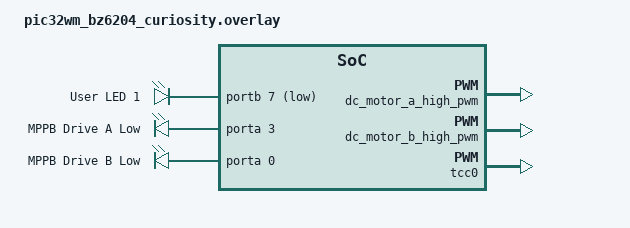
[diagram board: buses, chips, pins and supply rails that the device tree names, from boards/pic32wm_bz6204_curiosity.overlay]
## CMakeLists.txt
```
#
# Copyright (c) 2025 Microchip Technology Inc.
#
# SPDX-License-Identifier: Apache-2.0

cmake_minimum_required(VERSION 3.20.0)
list(APPEND BOARD_ROOT ${CMAKE_CURRENT_SOURCE_DIR})
find_package(Zephyr REQUIRED HINTS $ENV{ZEPHYR_BASE})
project(ble_dc_motor_mppb)

FILE(GLOB app_sources CONFIGURE_DEPENDS src/*.c)
target_sources(app PRIVATE
  ${app_sources}
  )

zephyr_library_include_directories(.)
```

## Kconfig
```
# Copyright (c) 2025 Microchip Technology Inc.
# SPDX-License-Identifier: Apache-2.0

mainmenu "Bluetooth: BLE DC Motor MPPB"

config TRS_SERVER_CREDIT
    int "Trs server credits"
    range 6 16
    default 16
    help
      credit value for Transparent Server

config TRS_SERVER_BUF_POOL_SIZE
    int "Trs server buffer pool size"
    range 1 16
    default 4
    help
      set this value based on the credits,maximum connections, 
      max size of the data that will be send over trs server 
      and frequency of data flow

config TRS_SERVER_BUF_DATA_SIZE
    int "Trs server data size for one pool"
    range 20 244
    default 128
    help
      set this value based on the max size of the data 
      that will be send over trs server

config TRS_SERVER_OPCODE_CBFC_ENABLED
    hex "Trs server opcode for CBFC enabled"
    default 0x14
    help
      opcode for CBFC enabled

config TRS_SERVER_OPCODE_CBFC_GIVE_CREDIT
    hex "Trs server opcode for giving credit"
    default 0x15
    help
      opcode for giving credit

config TRS_SERVER_VENDOR_OPCODE_MIN
    hex "Trs server vendor opcode min"
    range 0x20 0xFF
    default 0x20
    help
      minimum value for vendor specific opcodes

# DC motor application fixed protocol flags.
config APP_DC_MOTOR_VERBOSE_QEI_LOG
  bool "Print full QEI diagnostics"
  default n
  help
    Include encoder position, sample timing, raw velocity counts and pin states
    in the periodic motor log. Otherwise print only RPM, duty and count rate.

config APP_DC_MOTOR_OPEN_LOOP
  bool
  default n

config APP_DC_MOTOR_MPPB
  bool
  default y

source "Kconfig.zephyr"
```

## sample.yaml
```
sample:
  name: BLE Brushed DC Motor with MPPB
  description: Control a brushed DC motor from PIC32WM BZ6204 Curiosity or BZ6 Motor Control Board through the Microchip Multi-Phase Power Board.
  tags: bluetooth pwm gpio motor
tests:
  build:
    platform_allow:
      - pic32wm_bz6204_curiosity/pic32cx2051bz62132
      - bz6_motor_control_board/pic32cx2051bz62132
    tags: bluetooth pwm gpio motor
```

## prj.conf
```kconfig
#
# Copyright (c) 2025 Microchip Technology Inc.
#
# SPDX-License-Identifier: Apache-2.0
#
CONFIG_BT=y
CONFIG_LOG=y
CONFIG_BT_SMP=y
CONFIG_BT_PERIPHERAL=y
CONFIG_BT_DEVICE_NAME="Microchip"

CONFIG_GPIO=y
CONFIG_PWM=y
CONFIG_NET_BUF=y

CONFIG_BT_MAX_CONN=1

CONFIG_BT_RX_STACK_SIZE=2048
CONFIG_SYSTEM_WORKQUEUE_STACK_SIZE=2048

CONFIG_BT_L2CAP_TX_MTU=247
CONFIG_BT_BUF_ACL_RX_SIZE=255
CONFIG_BT_BUF_ACL_TX_SIZE=251
CONFIG_BT_BUF_CMD_TX_SIZE=255
CONFIG_BT_L2CAP_TX_BUF_COUNT=10
CONFIG_BT_CONN_TX_MAX=10
CONFIG_BT_ATT_TX_COUNT=10

CONFIG_TRS_SERVER_CREDIT=16
CONFIG_TRS_SERVER_BUF_POOL_SIZE=16
CONFIG_TRS_SERVER_BUF_DATA_SIZE=244
```

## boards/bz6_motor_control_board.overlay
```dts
/*
 * MPPB brushed DC motor control for bz6_motor_control_board.
 *
 * This overlay file configures the motor control hardware interfaces
 * for the BZ6 Motor Control Board. The board uses MPPB (Multi-Phase Power Board)
 * Drive A/B configured as one H-bridge.
 *
 * Hardware Mapping:
 *   A High: PA7 / TCC0 WO0 -> MPPB pin 26
 *   A Low:  PA3 / GPIO    -> MPPB pin 25
 *   B High: PA1 / TCC0 WO1 -> MPPB pin 24
 *   B Low:  PA0 / GPIO    -> MPPB pin 23
 *
 * Encoder A/B: PC9 / pin 32 (Hall C), PC8 / pin 34 (Hall B).
 * QEI routes PC8 to QEA and PC9 to QEB in plib_qei.c, without decoder swapping.
 * Low sides use GPIO rather than the connector's alternate TCC functions.
 * Drives C/D, PWM IN, monitor inputs and MPPB LED are not used here.
 */

/ {
	/* GPIO-based DC motor control outputs for low-side drives */
	mppb_outputs {
		compatible = "gpio-leds";
		status = "okay";

		dc_motor_a_low: dc_motor_a_low {
			gpios = <&porta 3 GPIO_ACTIVE_HIGH>;
			label = "MPPB Drive A Low";
		};

		dc_motor_b_low: dc_motor_b_low {
			gpios = <&porta 0 GPIO_ACTIVE_HIGH>;
			label = "MPPB Drive B Low";
		};
	};

	/* PWM-based DC motor control outputs for high-side drives */
	mppb_pwm_outputs {
		compatible = "pwm-leds";
		status = "okay";

		dc_motor_a_high_pwm: dc_motor_a_high_pwm {
			status = "okay";
			pwms = <&tcc0 0 PWM_USEC(1000) 0>;
		};

		dc_motor_b_high_pwm: dc_motor_b_high_pwm {
			status = "okay";
			pwms = <&tcc0 1 PWM_USEC(1000) 0>;
		};
	};

	aliases {
		led3 = &led0;
		dc-motor-a-high-pwm = &dc_motor_a_high_pwm;
		dc-motor-b-high-pwm = &dc_motor_b_high_pwm;
		dc-motor-a-low = &dc_motor_a_low;
		dc-motor-b-low = &dc_motor_b_low;
	};
};

/* Pin controller configuration for TCC0 PWM outputs */
&pinctrl {
	tcc0_pwm_mppb: tcc0_pwm_mppb {
		group1 {
			pinmux = <PA7_TCC0WO0_OUT>,
				<PA1_TCC0WO1_OUT>;
		};
	};
};

/* Timer/Counter Controller 0 configuration for PWM */
&tcc0 {
	status = "okay";
	pinctrl-0 = <&tcc0_pwm_mppb>;
	pinctrl-names = "default";
	prescaler = <1>;
};

/* SERCOM5 shares PA0/PA1 with the motor outputs. */
&sercom5 {
	status = "disabled";
};
```

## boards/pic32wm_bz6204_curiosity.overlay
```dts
/*
 * MPPB brushed DC motor control for pic32wm_bz6204_curiosity.
 *
 * MPPB Drive A/B are used as one H-bridge:
 *   A High: RPA7 / TCC0 WO0 -> MPPB pin 26
 *   A Low:  RPA3             -> MPPB pin 25
 *   B High: RPA1 / TCC0 WO1 -> MPPB pin 24
 *   B Low:  RPA0             -> MPPB pin 23
 */

/ {
	leds {
		compatible = "gpio-leds";
		led3: led_3 {
			gpios = <&portb 7 GPIO_ACTIVE_LOW>;
			label = "User LED 1";
		};
	};

	mppb_outputs {
		compatible = "gpio-leds";
		status = "okay";

		dc_motor_a_low: dc_motor_a_low {
			gpios = <&porta 3 GPIO_ACTIVE_HIGH>;
			label = "MPPB Drive A Low";
		};

		dc_motor_b_low: dc_motor_b_low {
			gpios = <&porta 0 GPIO_ACTIVE_HIGH>;
			label = "MPPB Drive B Low";
		};
	};

	mppb_pwm_outputs {
		compatible = "pwm-leds";
		status = "okay";

		dc_motor_a_high_pwm: dc_motor_a_high_pwm {
			status = "okay";
			pwms = <&tcc0 0 PWM_NSEC(50000) 0>;
		};

		dc_motor_b_high_pwm: dc_motor_b_high_pwm {
			status = "okay";
			pwms = <&tcc0 1 PWM_NSEC(50000) 0>;
		};
	};

	aliases {
		led3 = &led3;
		dc-motor-a-high-pwm = &dc_motor_a_high_pwm;
		dc-motor-b-high-pwm = &dc_motor_b_high_pwm;
		dc-motor-a-low = &dc_motor_a_low;
		dc-motor-b-low = &dc_motor_b_low;
	};
};

&pinctrl {
	tcc0_pwm_mppb: tcc0_pwm_mppb {
		group1 {
			pinmux = <PA7_TCC0WO0_OUT>,
				<PA1_TCC0WO1_OUT>;
		};
	};
};

&tcc0 {
	status = "okay";
	pinctrl-0 = <&tcc0_pwm_mppb>;
	pinctrl-names = "default";
	prescaler = <1>;
};

&sercom5 {
	status = "disabled";
};

/* Enable timer/counter modules for PWM */
```

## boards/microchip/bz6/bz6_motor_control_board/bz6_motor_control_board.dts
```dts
/*
 * Copyright (c) 2025 Microchip Technology Inc.
 *
 * SPDX-License-Identifier: Apache-2.0
 */

/dts-v1/;
#include <microchip/pic32c/pic32cx_bz/bz6x/bz62/pic32cx2051bz62132.dtsi>
#include "bz6_motor_control_board-pinctrl.dtsi"
#include <zephyr/dt-bindings/input/input-event-codes.h>
#include <zephyr/dt-bindings/i2c/i2c.h>

/ {
	model = "Microchip BZ6 Motor Control Board";
	compatible = "microchip,bz6-motor-control-board";

	chosen {
		zephyr,console = &sercom0;
		zephyr,shell-uart = &sercom0;
		zephyr,sram = &sram0;
		zephyr,flash = &flash0;
		zephyr,code-partition = &code_partition;
		zephyr,bt-hci = &bt_hci_microchip;
		zephyr,bt-c2h-uart = &sercom0;
		zephyr,ieee802154 = &ieee802154;
		zephyr,cortex-m-idle-timer = &rtc;
		zephyr,entropy = &trng;
		zephyr,crypto = &crypto;
	};

	leds {
		compatible = "gpio-leds";
		led0: led_0 {
			/* D801 blue LED: PE0 low = ON, PE0 high = OFF */
			gpios = <&porte 0 GPIO_ACTIVE_LOW>;
			label = "User LED";
		};
	};

	buttons {
		compatible = "gpio-keys";
		button0: button_0 {
			gpios = <&porte 3 (GPIO_PULL_UP | GPIO_ACTIVE_LOW)>;
			label = "BTN0";
			zephyr,code = <INPUT_KEY_0>;
		};
	};

	aliases {
		led0 = &led0;
		sw0 = &button0;
		rtc = &rtc;
		watchdog0 = &wdog;
	};
};

&cpu0 {
	clock-frequency = <128000000>;
};

&sosc {
	sosc-en = <0>;
};

&vbkpclk {
	vbkpclk-32kc-src-sel = "lprc";
};

&lpclk {
	lpclk-div-modifier = "div_by_1.024";
};

&rtcclk {
	rtcclk-vbkp-div-sel = "div_by_32";
};

&sercom0 {
	status = "okay";
	compatible = "microchip,sercom-g1-uart";
	rxpo = <1>;
	txpo = <0>;
	current-speed = <115200>;
	pinctrl-0 = <&sercom0_uart_default>;
	pinctrl-names = "default";

	dmas = <&dmac 0 4>, <&dmac 1 5>;
	dma-names = "rx", "tx";
};

&sercom1 {
	status = "okay";
	compatible = "microchip,sercom-g1-i2c";
	clock-frequency = <I2C_BITRATE_STANDARD>;
	#address-cells = <1>;
	#size-cells = <0>;
	pinctrl-0 = <&sercom1_i2c_default>;
	pinctrl-names = "default";

	dmas = <&dmac 2 6>, <&dmac 3 7>;
	dma-names = "rx", "tx";
};

&sercom4 {
	status = "okay";
	compatible = "microchip,sercom-g1-spi";
	dipo = <0>;
	dopo = <2>;
	#address-cells = <1>;
	#size-cells = <0>;

	pinctrl-0 = <&sercom4_spi_master_socket1>;
	pinctrl-names = "default";

	dmas = <&dmac 4 12>, <&dmac 5 13>;
	dma-names = "rx", "tx";
};

&sercom5 {
	status = "okay";
	compatible = "microchip,sercom-g1-uart";
	rxpo = <3>;
	txpo = <0>;
	current-speed = <115200>;
	pinctrl-0 = <&sercom5_uart_default>;
	pinctrl-names = "default";

	dmas = <&dmac 6 14>, <&dmac 7 15>;
	dma-names = "rx", "tx";
};

&bt_hci_microchip {
	status = "okay";
};

&ieee802154 {
	status = "okay";
};

&trng {
	status = "okay";
};

&crypto {
	status = "okay";
};

&flash0 {
	partitions {
		compatible = "fixed-partitions";
		#address-cells = <1>;
		#size-cells = <1>;

		code_partition: partition@0 {
			label = "code";
			reg = <0x0 DT_SIZE_K(2048-16)>;
			read-only;
		};

		storage_partition: partition@1FC000 {
			label = "storage";
			reg = <0x1FC000 0x00004000>;
		};
	};
};

&porta {
	status = "okay";
};

&portb {
	status = "okay";
};

&rtc {
	compatible = "microchip,rtc-g1-counter";
	status = "okay";
	max-bit-width = <32>;
	prescaler = <1>;
};

&tcc0 {
	status = "disabled";
	compatible = "microchip,tcc-g1-pwm";
	#pwm-cells = <3>;
	pinctrl-0 = <&tcc0_pwm_default>;
	pinctrl-names = "default";
	max-bit-width = <24>;
	prescaler = <1>;
	channels = <6>;
};

&tcc1 {
	status = "disabled";
	compatible = "microchip,tcc-g1-pwm";
	#pwm-cells = <3>;
	pinctrl-0 = <&tcc1_pwm_default>;
	pinctrl-names = "default";
	max-bit-width = <24>;
	prescaler = <1>;
	channels = <6>;
};

&tcc2 {
	status = "disabled";
	compatible = "microchip,tcc-g1-pwm";
	#pwm-cells = <3>;
	pinctrl-0 = <&tcc2_pwm_default>;
	pinctrl-names = "default";
	max-bit-width = <24>;
	prescaler = <1>;
	channels = <6>;
};

&tc0 {
	status = "disabled";
	compatible = "microchip,tc-g1";
	#pwm-cells = <3>;
	pinctrl-0 = <&tc0_pwm_default>;
	pinctrl-names = "default";
	max-bit-width = <32>;
	prescaler = <1>;
};

&tc1 {
	status = "disabled";
	compatible = "microchip,tc-g1";
	#pwm-cells = <3>;
	pinctrl-0 = <&tc1_pwm_default>;
	pinctrl-names = "default";
	max-bit-width = <32>;
	prescaler = <1>;
};
```

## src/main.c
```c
/*
 * Copyright (c) 2025 Microchip Technology Inc.
 *
 * SPDX-License-Identifier: Apache-2.0
 */
#include <zephyr/types.h>
#include <stddef.h>
#include <string.h>
#include <errno.h>
#include <zephyr/kernel.h>
#include <zephyr/logging/log.h>
#include <zephyr/bluetooth/bluetooth.h>
#include <zephyr/bluetooth/hci.h>
#include <zephyr/bluetooth/conn.h>
#include <zephyr/bluetooth/uuid.h>
#include <zephyr/bluetooth/gatt.h>
#include <zephyr/drivers/uart.h>
#include <zephyr/drivers/gpio.h>
#include "trs_server.h"
#include "trs.h"
#include "app_dc_motor.h"

LOG_MODULE_REGISTER(main);

#define UART_TX_BUF_SIZE 244
#define RING_BUF_SIZE    512
#define LED_BLINK_INTERVAL_MS 500
#define LED_RX_PULSE_MS 250
#define USER_LED_NODE DT_ALIAS(led3)

/* MBD legacy advertisement name and service data */
#define ADV_NAME "Zephyr_DC_Motor"
#define ADV_NAME_LEN (sizeof(ADV_NAME) - 1)

#define UART_DEVICE_NODE DT_CHOSEN(zephyr_shell_uart)

/* incoming events and data from the bluetooth */
static K_FIFO_DEFINE(rx_queue);

#define APP_BUF_POOL_SIZE CONFIG_TRS_SERVER_BUF_POOL_SIZE
#define APP_BUF_DATA_SIZE CONFIG_TRS_SERVER_BUF_DATA_SIZE

NET_BUF_POOL_DEFINE(app_buff_pool, APP_BUF_POOL_SIZE, APP_BUF_DATA_SIZE, 0, NULL);
RING_BUF_DECLARE(rx_ring, RING_BUF_SIZE);

static const struct device *const uart_dev = DEVICE_DT_GET(UART_DEVICE_NODE);
static const struct gpio_dt_spec user_led = GPIO_DT_SPEC_GET(USER_LED_NODE, gpios);

static struct bt_conn *ble_conn;
static struct k_spinlock motor_status_conn_lock;
static atomic_t motor_status_reset;
static struct k_work_delayable motor_status_work;
static struct k_work uart_rx_work;
static struct k_work ble_rx_work;
static struct k_work_delayable adv_retry_work;
static struct k_work_delayable led_blink_work;
static struct k_work_delayable led_rx_pulse_work;
static bool advertising_started;
static bool led_state;  /* true = ON, false = OFF */

static struct k_work vendor_work;
static uint8_t vendor_buf[32];
static int vendor_len_global;

/*
 * ── UART accumulation buffer ──
 * Collects bytes from ISR until a delimiter (CR/LF) is seen,
 * then hands off the complete line via a work item.
 */
#define ACCUM_BUF_SIZE 128
static uint8_t accum_buf[ACCUM_BUF_SIZE];
static size_t  accum_pos;
static struct k_work process_line_work;

/* Double-buffer: ISR fills accum_buf, work handler processes line_buf */
static uint8_t line_buf[ACCUM_BUF_SIZE];
static size_t  line_len;

static uint8_t svc_data[] = {
    0xDA, 0xFE,
    (DC_MOTOR_SERVICE_DATA >> 8) & 0xFF,
    DC_MOTOR_SERVICE_DATA & 0xFF
};

static struct bt_data ad[] = {
    BT_DATA_BYTES(BT_DATA_FLAGS, (BT_LE_AD_GENERAL | BT_LE_AD_NO_BREDR)),
    BT_DATA(BT_DATA_SVC_DATA16, svc_data, sizeof(svc_data)),
    BT_DATA(BT_DATA_NAME_COMPLETE, ADV_NAME, ADV_NAME_LEN),
};

/* ──────────────────────────────────────────────
 * Advertising
 * ────────────────────────────────────────────── */
static int start_advertising(void)
{
    int err;

    bt_le_adv_stop();
    err = bt_le_adv_start(BT_LE_ADV_CONN_FAST_1, ad, ARRAY_SIZE(ad), NULL, 0);
    if (err) {
        LOG_ERR("Advertising failed to start (err %d)", err);
        return err;
    }
    LOG_INF("Configuration mode: waiting connections...");
    
    /* Start LED blinking for advertising state */
    led_state = false;
    gpio_pin_set_dt(&user_led, 1);  /* 1 for GPIO_ACTIVE_LOW = LED OFF */
    k_work_schedule(&led_blink_work, K_MSEC(LED_BLINK_INTERVAL_MS));
    
    return 0;
}

static void adv_retry_work_handler(struct k_work *work)
{
    int err = start_advertising();

    if (err == -ENOMEM) {
        k_work_schedule(&adv_retry_work, K_MSEC(200));
    }
}

/* ──────────────────────────────────────────────
 * LED Blink handler (for advertising state)
 * ────────────────────────────────────────────── */
static void led_blink_work_handler(struct k_work *work)
{
    /* Only blink if still in advertising mode (not connected) */
    if (!ble_conn && advertising_started) {
        led_state = !led_state;
        gpio_pin_set_dt(&user_led, led_state ? 0 : 1);  /* Invert for GPIO_ACTIVE_LOW */
        k_work_schedule(&led_blink_work, K_MSEC(LED_BLINK_INTERVAL_MS));
    }
}

static void led_rx_pulse_work_handler(struct k_work *work)
{
    if (ble_conn) {
        led_state = true;
        gpio_pin_set_dt(&user_led, 1);
    }
}

static void user_led_rx_activity(void)
{
    if (ble_conn) {
        led_state = false;
        gpio_pin_set_dt(&user_led, 0);
        k_work_reschedule(&led_rx_pulse_work, K_MSEC(LED_RX_PULSE_MS));
    }
}

/* ──────────────────────────────────────────────
 * Connection callbacks
 * ────────────────────────────────────────────── */
static void motor_status_work_handler(struct k_work *work)
{
    static char status[64];
    static uint16_t length;
    static uint16_t offset;
    static uint8_t retries;
    uint16_t mtu;
    int ret = 0;
    k_spinlock_key_t key = k_spin_lock(&motor_status_conn_lock);
    struct bt_conn *conn = ble_conn ? bt_conn_ref(ble_conn) : NULL;
    k_spin_unlock(&motor_status_conn_lock, key);

    if (!conn) {
        length = 0U;
        offset = 0U;
        return;
    }
    if (atomic_set(&motor_status_reset, 0) != 0) {
        length = 0U;
        offset = 0U;
        retries = 0U;
    }
    if (!bt_trs_tx_ccc_config_status(conn)) {
        goto next_report;
    }
    if (length == 0U) {
        ret = app_dc_motor_format_status(status, sizeof(status));
        if (ret < 0) {
            goto next_report;
        }
        length = (uint16_t)ret;
    }
    trs_server_get_tx_mtu(conn, &mtu);
    if (mtu <= 4U) {
        goto next_report;
    }
    uint16_t chunk = MIN(length - offset, MIN(mtu - 4U, 244U));
    ret = trs_server_send_data(conn, chunk, (uint8_t *)&status[offset]);
    if (ret == 0) {
        offset += chunk;
    }
    if ((ret == 0 && offset < length) ||
        ((ret == -ENOBUFS || ret == -ENOMEM || ret == -EAGAIN) && retries++ < 20U)) {
        bt_conn_unref(conn);
        k_work_reschedule(&motor_status_work, K_MSEC(50));
        return;
    }

next_report:
    length = 0U;
    offset = 0U;
    retries = 0U;
    bt_conn_unref(conn);
    k_work_reschedule(&motor_status_work, K_SECONDS(5));
}

static void connected(struct bt_conn *connected, uint8_t err)
{
    if (err) {
        LOG_ERR("Connection failed (err %u)", err);
    } else {
        LOG_INF("Connected");
        k_spinlock_key_t key = k_spin_lock(&motor_status_conn_lock);
        if (!ble_conn) {
            ble_conn = bt_conn_ref(connected);
        }
        k_spin_unlock(&motor_status_conn_lock, key);
        atomic_set(&motor_status_reset, 1);
        k_work_reschedule(&motor_status_work, K_SECONDS(5));
        /* Cancel blinking and turn LED ON */
        k_work_cancel_delayable(&led_blink_work);
        k_work_cancel_delayable(&led_rx_pulse_work);
        led_state = true;
        gpio_pin_set_dt(&user_led, 1);  /* 1 = LED ON */
        LOG_INF("LED ON (connected)");
    }
}

static void disconnected(struct bt_conn *disconn, uint8_t reason)
{
    k_work_cancel_delayable(&motor_status_work);
    k_spinlock_key_t key = k_spin_lock(&motor_status_conn_lock);
    struct bt_conn *status_conn = ble_conn;
    ble_conn = NULL;
    k_spin_unlock(&motor_status_conn_lock, key);
    if (status_conn) {
        bt_conn_unref(status_conn);
    }
    LOG_INF("Disconnected, reason %u %s", reason, bt_hci_err_to_str(reason));
    
    /* Start blinking again for re-advertising */
    k_work_cancel_delayable(&led_rx_pulse_work);
    led_state = false;
    gpio_pin_set_dt(&user_led, 1);  /* 1 for GPIO_ACTIVE_LOW = LED OFF */
    k_work_schedule(&led_blink_work, K_MSEC(LED_BLINK_INTERVAL_MS));
    
    k_work_schedule(&adv_retry_work, K_MSEC(200));
}

BT_CONN_CB_DEFINE(conn_callbacks) = {
    .connected = connected,
    .disconnected = disconnected,
};

/* ──────────────────────────────────────────────
 * Hex conversion helper
 * ────────────────────────────────────────────── */
static int hex_char_val(uint8_t c)
{
    if (c >= '0' && c <= '9') {
        return c - '0';
    }
    if (c >= 'A' && c <= 'F') {
        return c - 'A' + 10;
    }
    if (c >= 'a' && c <= 'f') {
        return c - 'a' + 10;
    }
    return -1;
}


/**
 * Check if the entire buffer (ignoring whitespace/CR/LF) is valid hex pairs.
 * Returns the number of decoded bytes, or 0 if not valid hex.
 */
static int try_decode_hex(const uint8_t *buf, size_t len, uint8_t *out, size_t out_max)
{
    int count = 0;
    int nibble = -1;

    for (size_t i = 0; i < len; i++) {
        uint8_t c = buf[i];

        /* skip whitespace and delimiters */
        if (c == ' ' || c == '\t' || c == '\r' || c == '\n') {
            continue;
        }

        int val = hex_char_val(c);

        if (val < 0) {
            /* non-hex character found → not a hex command */
            return 0;
        }

        if (nibble < 0) {
            nibble = val;
        } else {
            if ((size_t)count >= out_max) {
                return 0; /* overflow */
            }
            out[count++] = (uint8_t)((nibble << 4) | val);
            nibble = -1;
        }
    }

    /* If there's a leftover nibble, the input wasn't aligned hex pairs */
    if (nibble >= 0) {
        return 0;
    }

    return count;
}

/* ──────────────────────────────────────────────
 * Vendor command work handler (system workqueue)
 * ────────────────────────────────────────────── */
static void vendor_work_handler(struct k_work *work)
{
    if (ble_conn && vendor_len_global > 0) {
        LOG_INF("Vendor TX: opcode=0x%02X, payload_len=%d",
            vendor_buf[0], vendor_len_global - 1);
        LOG_HEXDUMP_INF(vendor_buf, vendor_len_global, "vendor payload");

        int payload_len = (vendor_len_global > 1) ? (vendor_len_global - 1) : 0;
        uint8_t *payload = (vendor_len_global > 1) ? &vendor_buf[1] : NULL;

        int ret = trs_server_send_vendor_command(ble_conn,
                             vendor_buf[0],
                             payload_len,
                             payload);
        if (ret != 0) {
            LOG_ERR("Vendor send failed: %d", ret);
        } else {
            LOG_INF("Vendor command sent successfully (opcode=0x%02X, %d bytes)",
                vendor_buf[0], payload_len);
        }
    }
}

/* ──────────────────────────────────────────────
 * Process a complete UART line (work handler)
 *
 * Decision logic:
 *   a. If the line is valid hex AND first byte == 0x8E → vendor command
 *   b. Otherwise → transparent data (send raw ASCII over data pipe)
 * ────────────────────────────────────────────── */
static void process_line_work_handler(struct k_work *work)
{
    uint8_t local_buf[ACCUM_BUF_SIZE];
    size_t  local_len;

    /* Snapshot under lock (line_buf written from ISR context via
     * accum_buf copy – but actually we copy in ISR, so grab quickly) */
    unsigned int key = irq_lock();
    memcpy(local_buf, line_buf, line_len);
    local_len = line_len;
    irq_unlock(key);

    if (local_len == 0) {
        return;
    }

    LOG_HEXDUMP_DBG(local_buf, local_len, "UART line");

    /* ── Try to decode as hex vendor command ── */
    uint8_t hex_bytes[64];
    int hex_len = try_decode_hex(local_buf, local_len, hex_bytes, sizeof(hex_bytes));

    if (hex_len > 0 && hex_bytes[0] == 0x8E) {
        /* This is a vendor command → send via control pipe */
        if ((size_t)hex_len > sizeof(vendor_buf)) {
            hex_len = sizeof(vendor_buf);
        }
        unsigned int k = irq_lock();
        vendor_len_global = hex_len;
        memcpy(vendor_buf, hex_bytes, hex_len);
        irq_unlock(k);

        k_work_submit(&vendor_work);
        LOG_INF("Vendor command queued (%d bytes)", hex_len);
        return;
    }

    /* ── Regular transparent data → ring buffer → BLE data pipe ── */
    if (!ble_conn) {
        LOG_WRN("No BLE connection, discarding data");
        return;
    }

    /* Strip trailing CR/LF if you want clean data, or keep them – your choice.
     * Here we send everything as-is (raw ASCII). */
    uint8_t *ptr;
    size_t claimed = ring_buf_put_claim(&rx_ring, &ptr, local_len);

    if (claimed > 0) {
        size_t to_store = MIN(claimed, local_len);

        memcpy(ptr, local_buf, to_store);
        ring_buf_put_finish(&rx_ring, to_store);

        if (local_len > to_store) {
            LOG_ERR("Ring buffer overflow, %zu bytes lost",
                local_len - to_store);
        }
        k_work_submit(&uart_rx_work);
    } else {
        ring_buf_put_finish(&rx_ring, 0);
        LOG_ERR("Ring buffer full, dropping %zu bytes", local_len);
    }
}

/* ──────────────────────────────────────────────
 * BLE → UART (data pipe)
 * ────────────────────────────────────────────── */
static void uart_rx_work_handler(struct k_work *work)
{
    uint16_t tx_mtu = 0U;
    size_t bytes_read;

    trs_server_get_tx_mtu(ble_conn, &tx_mtu);

    if (tx_mtu > 0U) {
        uint8_t tx_buff[UART_TX_BUF_SIZE];

        while ((bytes_read = ring_buf_get(&rx_ring,
                          tx_buff, tx_mtu)) > 0) {
            if (trs_server_send_data(ble_conn, bytes_read,
                         tx_buff) < 0) {
                LOG_ERR("Failed to send through BLE");
                ring_buf_reset(&rx_ring);
                break;
            }
        }
    } else {
        ring_buf_reset(&rx_ring);
    }
}

static void ble_rx_work_handler(struct k_work *work)
{
    uint16_t data_len;

    trs_server_get_data_len(ble_conn, &data_len);

    if (data_len > 0) {
        struct net_buf *rec_buf = net_buf_alloc_len(&app_buff_pool,
                                (size_t)data_len,
                                K_FOREVER);
        if (rec_buf == NULL) {
            LOG_ERR("No memory");
            return;
        }

        if (trs_server_get_data(ble_conn,
                    net_buf_add(rec_buf, data_len)) > 0) {
            unsigned int key = irq_lock();
            bool was_empty = k_fifo_is_empty(&rx_queue);

            k_fifo_put(&rx_queue, rec_buf);
            if (was_empty) {
                uart_irq_tx_enable(uart_dev);
            }
            irq_unlock(key);
        } else {
            net_buf_unref(rec_buf);
        }
    }
}

/* ──────────────────────────────────────────────
 * TRS server callback
 * ────────────────────────────────────────────── */
static void trs_server_cb_fn(struct trs_server_event *event)
{
    switch (event->event_id) {
    case TRS_SERVER_EVT_RECEIVE_DATA:
        user_led_rx_activity();
        k_work_submit(&ble_rx_work);
        break;

    case TRS_SERVER_EVT_CBFC_ENABLED:
        LOG_INF("CBFC Rx enabled");
        break;

    case TRS_SERVER_EVT_CBFC_CREDIT:
        LOG_INF("CBFC Tx credit updated");
        break;

    case TRS_SERVER_EVT_VENDOR_CMD: {
        uint8_t *vdata = event->event_field.vendor_cmd.payload;
        uint16_t vlen  = event->event_field.vendor_cmd.length;

        if (vlen > 0 && vdata) {
            user_led_rx_activity();

            if (vdata[0] == DC_MOTOR_OPCODE && ble_conn) {
                LOG_INF("Vendor cmd received size=%u", vlen);
                LOG_HEXDUMP_INF(vdata, vlen, "RX Vendor:");

                int ret = app_dc_motor_ble_handle_cmd(ble_conn, vdata[0],
                                                    vdata + 1, vlen - 1);
                if (ret != 0) {
                    LOG_ERR("Failed to handle DC motor command: %d", ret);
                }
            } else {
                LOG_INF("Data received size=%u", vlen);
                LOG_HEXDUMP_INF(vdata, vlen, "RX Data:");

                if (ble_conn) {
                    uint8_t ack_data[UART_TX_BUF_SIZE];
                    const char ack_prefix[] = "data received :";
                    size_t prefix_len = sizeof(ack_prefix) - 1;
                    size_t copy_len = MIN((size_t)vlen, sizeof(ack_data) - prefix_len);

                    memcpy(ack_data, ack_prefix, prefix_len);
                    memcpy(&ack_data[prefix_len], vdata, copy_len);

                    int ack_ret = trs_server_send_data(ble_conn,
                                                       prefix_len + copy_len,
                                                       ack_data);
                    if (ack_ret < 0) {
                        LOG_ERR("Failed to send data acknowledgement: %d", ack_ret);
                    }
                }
            }

            /* Echo to UART/Docklight */
            for (uint16_t i = 0; i < vlen; i++) {
                uart_poll_out(uart_dev, vdata[i]);
            }
        }
        break;
    }

    case TRS_SERVER_EVT_ERR_UNSPECIFIED:
        LOG_ERR("TRS Error: Unspecified");
        break;

    case TRS_SERVER_EVT_ERR_NO_MEM:
        LOG_ERR("TRS Error: No memory");
        break;

    default:
        break;
    }
}

static struct trs_server_cb trs_server_event_cb = {
    .trs_server_event = trs_server_cb_fn,
};

/* ──────────────────────────────────────────────
 * Auth
 * ────────────────────────────────────────────── */
static void auth_cancel(struct bt_conn *conn)
{
    char addr[BT_ADDR_LE_STR_LEN];

    bt_addr_le_to_str(bt_conn_get_dst(conn), addr, sizeof(addr));
    printk("Pairing cancelled: %s\n", addr);
}

static struct bt_conn_auth_cb auth_cb_display = {
    .cancel = auth_cancel,
};

static void bt_ready(int err)
{
    if (err) {
        LOG_ERR("Bluetooth init failed (err %d)", err);
        return;
    }
    LOG_INF("Bluetooth initialized");
    start_advertising();
}

/* ──────────────────────────────────────────────
 * UART ISR – accumulate bytes, dispatch complete
 * lines via work item
 *
 * Delimiter: CR (\r) or LF (\n)
 *
 * For Docklight: make sure your sequences end with
 * CR or LF (or CR+LF). Configure Docklight send
 * sequences accordingly.
 * ────────────────────────────────────────────── */
static void rx_uart_isr(void)
{
    uint8_t tmp[32];
    int n = uart_fifo_read(uart_dev, tmp, sizeof(tmp));

    for (int i = 0; i < n; i++) {
        uint8_t c = tmp[i];

        if (c == '\r' || c == '\n') {
            if (accum_pos > 0) {
                /* Complete line ready – copy to line_buf
                 * and schedule processing */
                memcpy(line_buf, accum_buf, accum_pos);
                line_len = accum_pos;
                accum_pos = 0;
                k_work_submit(&process_line_work);
            }
            /* else: ignore empty lines / consecutive delimiters */
        } else {
            if (accum_pos < ACCUM_BUF_SIZE) {
                accum_buf[accum_pos++] = c;
            } else {
                /* Overflow – discard this line */
                LOG_ERR("Accum buffer overflow, discarding");
                accum_pos = 0;
            }
        }
    }
}

static void tx_uart_data(void)
{
    static struct net_buf *rec_buf;
    int len;

    if (!rec_buf) {
        rec_buf = k_fifo_get(&rx_queue, K_NO_WAIT);
        if (!rec_buf) {
            uart_irq_tx_disable(uart_dev);
            return;
        }
    }

    len = uart_fifo_fill(uart_dev, rec_buf->data, rec_buf->len);
    net_buf_pull(rec_buf, len);

    if (!rec_buf->len) {
        net_buf_unref(rec_buf);
        rec_buf = NULL;
    }
}

static void uart_isr(const struct device *unused, void *user_data)
{
    ARG_UNUSED(unused);
    ARG_UNUSED(user_data);

    while (uart_irq_update(uart_dev) && uart_irq_is_pending(uart_dev)) {
        if (uart_irq_tx_ready(uart_dev)) {
            tx_uart_data();
        }
        if (uart_irq_rx_ready(uart_dev)) {
            rx_uart_isr();
        }
    }
}

static int uart_init(void)
{
    if (!device_is_ready(uart_dev)) {
        return -ENODEV;
    }

    uart_irq_rx_disable(uart_dev);
    uart_irq_tx_disable(uart_dev);
    uart_irq_callback_set(uart_dev, uart_isr);
    uart_irq_rx_enable(uart_dev);

    return 0;
}

/* ──────────────────────────────────────────────
 * Main
 * ────────────────────────────────────────────── */
int main(void)
{
    int err;

    k_work_init(&ble_rx_work, ble_rx_work_handler);
    k_work_init(&uart_rx_work, uart_rx_work_handler);
    k_work_init(&vendor_work, vendor_work_handler);
    k_work_init(&process_line_work, process_line_work_handler);
    k_work_init_delayable(&adv_retry_work, adv_retry_work_handler);
    k_work_init_delayable(&led_blink_work, led_blink_work_handler);
    k_work_init_delayable(&led_rx_pulse_work, led_rx_pulse_work_handler);
    k_work_init_delayable(&motor_status_work, motor_status_work_handler);
    advertising_started = true;

    LOG_INF("Initializing Bluetooth...");

    err = uart_init();
    if (err) {
        return 0;
    }

    /* Initialize LED GPIO */
    if (!gpio_is_ready_dt(&user_led)) {
        LOG_ERR("LED GPIO device not ready");
        return 0;
    }
    err = gpio_pin_configure_dt(&user_led, GPIO_OUTPUT);
    if (err < 0) {
        LOG_ERR("Failed to configure LED GPIO: %d", err);
        return 0;
    }
    gpio_pin_set_dt(&user_led, 1);  /* Start with LED OFF */
    led_state = false;
    LOG_INF("LED initialized");

    bt_conn_auth_cb_register(&auth_cb_display);

    err = trs_server_cb_register(&trs_server_event_cb);
    if (err) {
        return 0;
    }

    /* Initialize DC motor BLE module */
    err = app_dc_motor_ble_init();
    if (err) {
        LOG_ERR("Failed to initialize DC motor BLE module: %d", err);
        return 0;
    }

    err = bt_enable(bt_ready);
    if (err) {
        LOG_ERR("Bluetooth init failed (err %d)", err);
    }

    return 0;
}
```

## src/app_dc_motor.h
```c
/*
 * Copyright (c) 2025 Microchip Technology Inc.
 *
 * SPDX-License-Identifier: Apache-2.0
 */

#ifndef APP_DC_MOTOR_H
#define APP_DC_MOTOR_H

#include <zephyr/types.h>
#include <zephyr/bluetooth/conn.h>

/* Protocol Constants */
#define DC_MOTOR_OPCODE                 0x8E
#define DC_MOTOR_SERVICE_DATA           0xFFE2

/* UI Update Response fixed motor parameters */
#define DC_MOTOR_VOLTAGE                24U
#define DC_MOTOR_MIN_RPM                30U
#define DC_MOTOR_MAX_RPM                1360U
#define QEI_COUNTS_PER_OUTPUT_REV       194U
#define DC_MOTOR_CLOSED_LOOP_ENABLED    1U

/* Control Request IDs (App -> Device) */
#define DC_CMD_UI_UPDATE_REQ            0xA1
#define DC_CMD_SLIDER_SET               0xA2
#define DC_CMD_FIXED_DIRECTION_SET      0xA4
#define DC_CMD_START_STOP_SET           0xA5

/* Data Response IDs (Device -> App) */
#define DC_RSP_UI_UPDATE                0xB1
#define DC_RSP_SLIDER_SET               0xB2
#define DC_RSP_FIXED_DIRECTION_SET      0xB4
#define DC_RSP_START_STOP_SET           0xB5

/* Notification IDs (Device -> App) */
#define DC_NTF_SLIDER                   0xC2
#define DC_NTF_FIXED_DIRECTION          0xC4
#define DC_NTF_START_STOP               0xC5

/* Acknowledgment Response IDs */
#define DC_ACK_UI_UPDATE                0xD1
#define DC_ACK_SLIDER_SET               0xD2
#define DC_ACK_FIXED_DIRECTION_SET      0xD4
#define DC_ACK_START_STOP_SET           0xD5

/* Direction Values */
#define DC_DIR_CW                       0x00
#define DC_DIR_CCW                      0x01

/* Start/Stop Values */
#define DC_STOP                         0x00
#define DC_START                        0x01

int app_dc_motor_ble_init(void);
int app_dc_motor_format_status(char *buffer, size_t capacity);

int app_dc_motor_ble_handle_cmd(struct bt_conn *conn, uint8_t opcode,
                                const uint8_t *payload, uint16_t payload_len);

int app_dc_motor_ble_send_ui_update_response(struct bt_conn *conn);

int app_dc_motor_ble_send_slider_response(struct bt_conn *conn, uint16_t slider_value);

int app_dc_motor_ble_send_fixed_direction_response(struct bt_conn *conn, uint8_t direction);

int app_dc_motor_ble_send_start_stop_response(struct bt_conn *conn, uint8_t start_stop);

int app_dc_motor_ble_send_slider_notify(struct bt_conn *conn, uint16_t slider_value);

int app_dc_motor_ble_send_fixed_direction_notify(struct bt_conn *conn, uint8_t direction);

int app_dc_motor_ble_send_start_stop_notify(struct bt_conn *conn, uint8_t start_stop);

int app_dc_motor_ble_send_ack(struct bt_conn *conn, uint8_t ack_id);

#endif /* APP_DC_MOTOR_H */
```

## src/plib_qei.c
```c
/*
 * Copyright (c) 2026
 *
 * SPDX-License-Identifier: Apache-2.0
 */

#include <soc.h>

#include "plib_qei.h"

void QEI_Initialize(void)
{
    QEI_Stop();

    CFG_REGS->CFG_PMD3 &= ~CFG_PMD3_QEIMD_Msk;

    QEI_ENCODER_GPIO_REGS->GPIO_ANSELCLR = QEI_ENCODER_PIN_MASK;
    QEI_ENCODER_GPIO_REGS->GPIO_TRISSET = QEI_ENCODER_PIN_MASK;

#if defined(CONFIG_BOARD_BZ6_MOTOR_CONTROL_BOARD)
    /* Route the confirmed MCB phase order directly; no decoder swap is needed. */
    PPS_REGS->PPS_QEIQEA0G4R = 0U;
    PPS_REGS->PPS_QEIQEB0G5R = 0U;
    PPS_REGS->PPS_QEIQEA0G3R = PPS_QEIQEA0G3R_QEIQEA0G3_RPC8;
    PPS_REGS->PPS_QEIQEB0G4R = PPS_QEIQEB0G4R_QEIQEB0G4_RPC9;
#else
    PPS_REGS->PPS_QEIQEA0G4R = PPS_QEIQEA0G4R_QEIQEA0G4_RPB6;
    PPS_REGS->PPS_QEIQEB0G4R = PPS_QEIQEB0G4R_QEIQEB0G4_RPB4;
#endif

    QEI_REGS->QEI_QEICON = QEI_QEICON_CCM_COUNT_MODE |
                           QEI_QEICON_PIMOD_0 |
                           QEI_QEICON_INTDIV_1_1 |
                           QEI_QEICON_QEISIDL_CONT;
    QEI_REGS->QEI_QEIIOC = QEI_QEIIOC_QFDIV_1_1;
    QEI_REGS->QEI_QEIICC = 200U;
    QEI_REGS->QEI_QEICMPL = 1U;
    QEI_REGS->QEI_QEISTAT = 0U;
    QEI_REGS->QEI_POSCNT = 0U;
    QEI_REGS->QEI_VELCNT = 0U;
}

void QEI_Start(void)
{
    QEI_REGS->QEI_QEICONSET = QEI_QEICON_ON_Msk;
}

void QEI_Stop(void)
{
    QEI_REGS->QEI_QEICONCLR = QEI_QEICON_ON_Msk;
}

uint32_t QEI_PulseIntervalGet(void)
{
    return QEI_REGS->QEI_INTHLD;
}

void QEI_PositionWindowSet(uint32_t high_threshold, uint32_t low_threshold)
{
    QEI_REGS->QEI_QEIICC = high_threshold;
    QEI_REGS->QEI_QEICMPL = low_threshold;
}

void QEI_PositionCountSet(uint32_t position_count)
{
    QEI_REGS->QEI_POSCNT = position_count;
}

void QEI_VelocityCountSet(uint32_t velocity_count)
{
    QEI_REGS->QEI_VELCNT = velocity_count;
}
```

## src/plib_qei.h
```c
/*
 * Copyright (c) 2026
 *
 * SPDX-License-Identifier: Apache-2.0
 */

#ifndef PLIB_QEI_H
#define PLIB_QEI_H

#include <stdbool.h>
#include <stddef.h>
#include <stdint.h>
#include <soc.h>

#include "plib_qei_common.h"

#if defined(CONFIG_BOARD_BZ6_MOTOR_CONTROL_BOARD)
#define QEI_ENCODER_GPIO_REGS GPIOC_REGS
#define QEI_ENCODER_A_PIN 8U
#define QEI_ENCODER_B_PIN 9U
#define QEI_ENCODER_A_NAME "PC8"
#define QEI_ENCODER_B_NAME "PC9"
#define QEI_ENCODER_PORT_NAME "PORTC"
#else
#define QEI_ENCODER_GPIO_REGS GPIOB_REGS
#define QEI_ENCODER_A_PIN 6U
#define QEI_ENCODER_B_PIN 4U
#define QEI_ENCODER_A_NAME "PB6"
#define QEI_ENCODER_B_NAME "PB4"
#define QEI_ENCODER_PORT_NAME "PORTB"
#endif

#define QEI_ENCODER_PIN_MASK ((1UL << QEI_ENCODER_A_PIN) | (1UL << QEI_ENCODER_B_PIN))

#ifdef __cplusplus
extern "C" {
#endif

void QEI_Initialize(void);
void QEI_Start(void);
void QEI_Stop(void);

static inline uint32_t QEI_PositionGet(void)
{
    return QEI_REGS->QEI_POSCNT;
}

static inline uint32_t QEI_VelocityGet(void)
{
    return QEI_REGS->QEI_VELCNT;
}

static inline uint32_t QEI_RevolutionsGet(void)
{
    return QEI_REGS->QEI_INDXCNT;
}

uint32_t QEI_PulseIntervalGet(void);
void QEI_PositionWindowSet(uint32_t high_threshold, uint32_t low_threshold);
void QEI_PositionCountSet(uint32_t position_count);
void QEI_VelocityCountSet(uint32_t velocity_count);

#ifdef __cplusplus
}
#endif

#endif /* PLIB_QEI_H */
```

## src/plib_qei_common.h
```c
/*
 * Copyright (c) 2026
 *
 * SPDX-License-Identifier: Apache-2.0
 */

#ifndef PLIB_QEI_COMMON_H
#define PLIB_QEI_COMMON_H

#include <stdint.h>
#include <soc.h>

#define QEI_STATUS_NONE                  (0U)
#define QEI_INDEX_STATUS                 ((uint32_t)QEI_QEISTAT_IDXIRQ_Msk)
#define QEI_HOME_STATUS                  ((uint32_t)QEI_QEISTAT_HOMIRQ_Msk)
#define QEI_VELOCITY_OVERFLOW_STATUS     ((uint32_t)QEI_QEISTAT_VELOVIRQ_Msk)
#define QEI_POSITION_OVERFLOW_STATUS     ((uint32_t)QEI_QEISTAT_POSOVIRQ_Msk)
#define QEI_POS_INIT_COMPLETE_STATUS     ((uint32_t)QEI_QEISTAT_PCIIRQ_Msk)
#define QEI_POS_LESS_EQ_STATUS           ((uint32_t)QEI_QEISTAT_PCLEQIRQ_Msk)
#define QEI_POS_HIGH_EQ_STATUS           ((uint32_t)QEI_QEISTAT_PCHEQIRQ_Msk)
#define QEI_STATUS_MASK                  (QEI_INDEX_STATUS | QEI_HOME_STATUS | \
                                          QEI_VELOCITY_OVERFLOW_STATUS | \
                                          QEI_POSITION_OVERFLOW_STATUS | \
                                          QEI_POS_INIT_COMPLETE_STATUS | \
                                          QEI_POS_LESS_EQ_STATUS | \
                                          QEI_POS_HIGH_EQ_STATUS)

typedef uint32_t QEI_STATUS;
typedef void (*QEI_CALLBACK)(QEI_STATUS status, uintptr_t context);

typedef struct {
    QEI_CALLBACK callback;
    uintptr_t context;
} QEI_CH_OBJECT;

#endif /* PLIB_QEI_COMMON_H */
```
